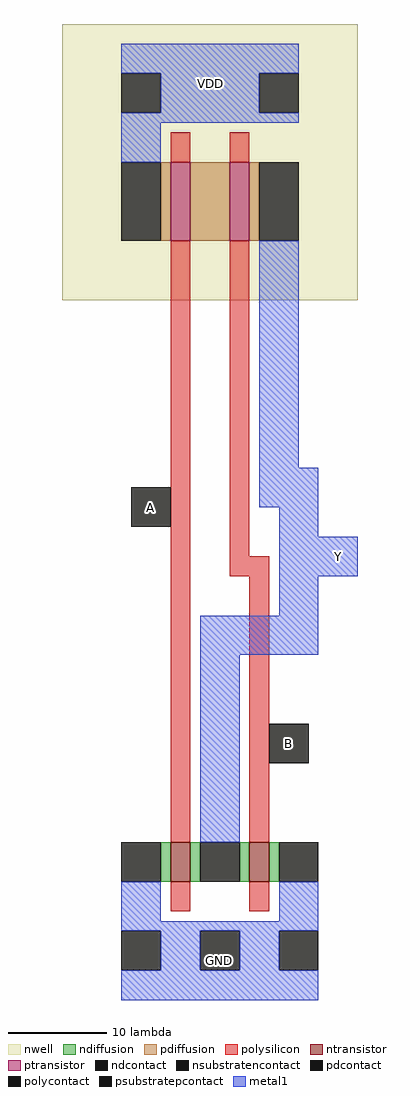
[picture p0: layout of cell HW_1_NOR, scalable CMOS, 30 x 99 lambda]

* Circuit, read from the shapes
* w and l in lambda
.subckt HW_1_NOR A B GND VDD Y
M1 Y A GND GND nfet w=4 l=2
M2 GND B Y GND nfet w=4 l=2
M3 n1 A VDD VDD pfet w=8 l=2
M4 Y B n1 VDD pfet w=8 l=2
.ends

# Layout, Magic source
magic
tech scmos
<< nwell >>
rect -16 20 14 48
<< ntransistor >>
rect -5 -39 -3 -35
rect 3 -39 5 -35
<< ptransistor >>
rect -5 26 -3 34
rect 1 26 3 34
<< ndiffusion >>
rect -6 -39 -5 -35
rect -3 -39 -2 -35
rect 2 -39 3 -35
rect 5 -39 6 -35
<< pdiffusion >>
rect -6 26 -5 34
rect -3 26 1 34
rect 3 26 4 34
<< ndcontact >>
rect -10 -39 -6 -35
rect -2 -39 2 -35
rect 6 -39 10 -35
<< pdcontact >>
rect -10 26 -6 34
rect 4 26 8 34
<< psubstratepcontact >>
rect -10 -48 -6 -44
rect -2 -48 2 -44
rect 6 -48 10 -44
<< nsubstratencontact >>
rect -10 39 -6 43
rect 4 39 8 43
<< polysilicon >>
rect -5 34 -3 37
rect 1 34 3 37
rect -5 -35 -3 26
rect 1 -6 3 26
rect 1 -8 5 -6
rect 3 -35 5 -8
rect -5 -42 -3 -39
rect 3 -42 5 -39
<< polycontact >>
rect -9 -3 -5 1
rect 5 -27 9 -23
<< metal1 >>
rect -10 43 8 46
rect -6 39 4 43
rect -10 38 8 39
rect -10 34 -6 38
rect 4 3 8 26
rect 4 -1 10 3
rect 6 -4 10 -1
rect 6 -8 14 -4
rect 6 -12 10 -8
rect -2 -16 10 -12
rect -2 -35 2 -16
rect -10 -43 -6 -39
rect 6 -43 10 -39
rect -10 -44 10 -43
rect -6 -48 -2 -44
rect 2 -48 6 -44
rect -10 -51 10 -48
<< labels >>
rlabel polycontact -9 -3 -5 1 1 A
rlabel polycontact 5 -27 9 -23 1 B
rlabel metal1 10 -8 14 -4 7 Y
rlabel metal1 -10 -51 10 -43 1 GND
rlabel nwell -10 38 8 46 1 VDD
<< end >>
